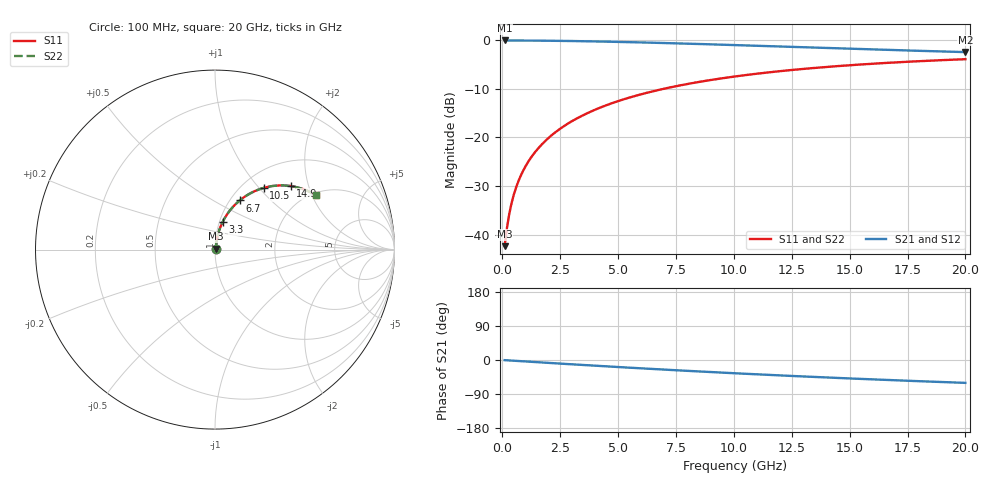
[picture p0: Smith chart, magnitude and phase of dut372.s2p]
! Touchstone file exported from HFSS 2026.1.0
!  File:  C:/ffzhzh/LocalFiles/Ansys_Project_Files/temp_train_TMRDL_372_1783004398_55676.aedt
!  Generated:  11:01:38 PM Jul  2, 2026
!  Design:  TMRDL
!  Project:  temp_train_TMRDL_372_1783004398_55676
! Variables:
!  h_bsmrdl = 2um
!  h_ox = 20um
!  h_rdl = 5um
!  h_sub = 80um
!  h_tmrdl = 5.21um
!  h_tsv = 80um
!  h_via = 3um
!  l_bsmrdl = 300um
!  l_sub = 1271.78um
!  l_tmrdl = 871.78um
!  m_sub = 200um
!  pitch = 54.32um
!  r_tsv = 6um
!  s_tmrdl = 10um
!  w_bsmrdl = 18um
!  w_sub = 500um
!  w_tmrdl = 10.36um
!  x_tsv_center1 = 876.96um
!  x_tsv_center2 = 1194.96um
!  x_tsv_center3 = 2077.1um
!  x_tsv_center4 = 2395.1um
!  x_tsv_center5 = 3277.24um
!  x_tsv_center6 = 3595.24um
# GHz S MA R 50.000000
! Terminal data exported
! Port[1] = TM_RDL1_1_T1
! Port[2] = TM_RDL1_1_T2
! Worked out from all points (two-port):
!   200 points, 100 MHz to 20 GHz, reference 50 ohm
!   highest |S21| = -0.05 dB at 100 MHz (marker M1); lowest = -2.4 dB at 20 GHz (marker M2)
!   |S21| within 3 dB of the highest: start of sweep to end of sweep
!   lowest |S11| = -42.3 dB at 100 MHz (marker M3), VSWR 1.02, Z = 50.6 + j0.513 ohm
!   |S11| at or under -10 dB: start of sweep to 6.959 GHz
!   |S22| runs from -42.3 to -3.9 dB; largest |S21 - S12| = 7.3e-15
!   S11 on the Smith chart (normalised r, x): 100 MHz: 1.01, +0.01; 3.3 GHz: 1.04, +0.33; 6.7 GHz: 1.11, +0.67; 10.5 GHz: 1.24, +1.06; 14.9 GHz: 1.52, +1.54; 20 GHz: 2.09, +2.13
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0.1  0.007635 41.7  0.9943 -0.4  0.9943 -0.4  0.007635 41.7
! Gamma 0 0 0 0
! Port Impedance 50 0 50 0
0.2  0.0117 59.8  0.9942 -0.8  0.9942 -0.8  0.0117 59.8
0.3  0.01632 67.9  0.994 -1.2  0.994 -1.2  0.01632 67.9
0.4  0.02111 72.1  0.9939 -1.6  0.9939 -1.6  0.02111 72.1
0.5  0.02595 74.6  0.9937 -1.9  0.9937 -1.9  0.02595 74.6
0.7  0.0357 77.3  0.9932 -2.7  0.9932 -2.7  0.0357 77.3
1  0.0504 78.9  0.9923 -3.8  0.9923 -3.8  0.0504 78.9
1.4  0.06997 79.2  0.9909 -5.4  0.9909 -5.4  0.06997 79.1
1.9  0.0943 78.4  0.9885 -7.2  0.9885 -7.2  0.0943 78.4
2.5  0.1231 76.9  0.9847 -9.5  0.9847 -9.5  0.1231 76.9
3.3  0.1607 74.5  0.9785 -12.5  0.9785 -12.5  0.1607 74.5
3.5  0.1699 73.9  0.9767 -13.2  0.9767 -13.2  0.1699 73.8
4.9  0.2323 69.2  0.9623 -18.2  0.9623 -18.2  0.2323 69.2
6.7  0.3062 63.3  0.9398 -24.4  0.9398 -24.4  0.3062 63.3
6.8  0.3101 63.0  0.9385 -24.7  0.9385 -24.7  0.3101 63.0
8.3  0.3657 58.3  0.9174 -29.6  0.9174 -29.6  0.3657 58.3
10.1  0.4256 52.9  0.8906 -35.2  0.8906 -35.2  0.4256 52.9
10.5  0.4379 51.7  0.8845 -36.4  0.8845 -36.4  0.4379 51.7
13.4  0.5168 43.8  0.8409 -44.5  0.8409 -44.5  0.5168 43.8
14.9  0.5509 40.0  0.8193 -48.4  0.8193 -48.4  0.5509 40.0
16.7  0.5864 35.7  0.7947 -52.9  0.7947 -52.9  0.5864 35.6
20  0.6383 28.3  0.7548 -60.4  0.7548 -60.4  0.6382 28.3
